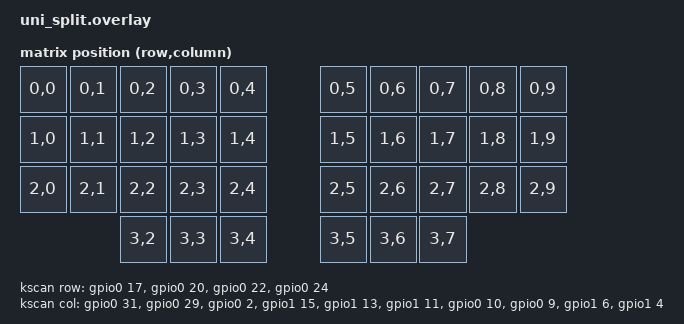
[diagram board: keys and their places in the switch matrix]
// uni-split: 5x3+3 split keyboard driven by a single Pro Micro nRF52840.
// Both halves are wired into one 10 column x 4 row matrix.

#include <dt-bindings/zmk/matrix_transform.h>

#include "uni_split-layouts.dtsi"

/ {
    chosen {
        zmk,physical-layout = &default_layout;
        zephyr,display = &oled;
    };

    kscan: kscan {
        compatible = "zmk,kscan-gpio-matrix";
        diode-direction = "col2row";
        wakeup-source;

        // Columns 1-10. Columns 1-5 are the left half, 6-10 the right half.
        col-gpios
            = <&gpio0 31 GPIO_ACTIVE_HIGH> // col 1  - P0.31
            , <&gpio0 29 GPIO_ACTIVE_HIGH> // col 2  - P0.29
            , <&gpio0 2 GPIO_ACTIVE_HIGH>  // col 3  - P0.02
            , <&gpio1 15 GPIO_ACTIVE_HIGH> // col 4  - P1.15
            , <&gpio1 13 GPIO_ACTIVE_HIGH> // col 5  - P1.13
            , <&gpio1 11 GPIO_ACTIVE_HIGH> // col 6  - P1.11
            , <&gpio0 10 GPIO_ACTIVE_HIGH> // col 7  - P0.10
            , <&gpio0 9 GPIO_ACTIVE_HIGH>  // col 8  - P0.09
            , <&gpio1 6 GPIO_ACTIVE_HIGH>  // col 9  - P1.06
            , <&gpio1 4 GPIO_ACTIVE_HIGH>  // col 10 - P1.04
            ;

        // Rows 1-4, top to bottom.
        row-gpios
            = <&gpio0 17 (GPIO_ACTIVE_HIGH | GPIO_PULL_DOWN)> // row 1 - P0.17
            , <&gpio0 20 (GPIO_ACTIVE_HIGH | GPIO_PULL_DOWN)> // row 2 - P0.20
            , <&gpio0 22 (GPIO_ACTIVE_HIGH | GPIO_PULL_DOWN)> // row 3 - P0.22
            , <&gpio0 24 (GPIO_ACTIVE_HIGH | GPIO_PULL_DOWN)> // row 4 - P0.24
            ;
    };

    default_transform: default_transform {
        // Matrix positions (pins are numbered row 1-4 and column 1-10):
        //   row 1: C1 C2 C3 C4 C5 | C6 C7 C8 C9 C10
        //   row 2: C1 C2 C3 C4 C5 | C6 C7 C8 C9 C10
        //   row 3: C1 C2 C3 C4 C5 | C6 C7 C8 C9 C10
        //   row 4:       C3 C4 C5 | C6 C7 C8
        compatible = "zmk,matrix-transform";
        columns = <10>;
        rows = <4>;

        map = <
            RC(0,0) RC(0,1) RC(0,2) RC(0,3) RC(0,4) RC(0,5) RC(0,6) RC(0,7) RC(0,8) RC(0,9)
            RC(1,0) RC(1,1) RC(1,2) RC(1,3) RC(1,4) RC(1,5) RC(1,6) RC(1,7) RC(1,8) RC(1,9)
            RC(2,0) RC(2,1) RC(2,2) RC(2,3) RC(2,4) RC(2,5) RC(2,6) RC(2,7) RC(2,8) RC(2,9)
            RC(3,2) RC(3,3) RC(3,4) RC(3,5) RC(3,6) RC(3,7)
        >;
    };
};

// The nice!nano default I2C0 pins (D2/D3, P0.17/P0.20) are matrix rows 1 and
// 2 on this keyboard, so move I2C0 to D0/D1 (P0.08/P0.06) for the OLED.
//
// SDA is wired to D0 (P0.08), SCL to D1 (P0.06).
&pinctrl {
    i2c0_oled_default: i2c0_oled_default {
        group1 {
            psels = <NRF_PSEL(TWIM_SDA, 0, 8)>,
                    <NRF_PSEL(TWIM_SCL, 0, 6)>;
            bias-pull-up;
        };
    };

    i2c0_oled_sleep: i2c0_oled_sleep {
        group1 {
            psels = <NRF_PSEL(TWIM_SDA, 0, 8)>,
                    <NRF_PSEL(TWIM_SCL, 0, 6)>;
            bias-pull-up;
            low-power-enable;
        };
    };
};

// Same shape ZMK's own OLED shields (Corne, Kyria, Waterfowl) ship with.
&pro_micro_i2c {
    status = "okay";
    pinctrl-0 = <&i2c0_oled_default>;
    pinctrl-1 = <&i2c0_oled_sleep>;
    pinctrl-names = "default", "sleep";

    // 128x64 SSD1306 OLED at the usual 0x3c address.
    // `segment-remap` + `com-invdir` rotate the image 180 degrees.
    oled: ssd1306@3c {
        compatible = "solomon,ssd1306fb";
        reg = <0x3c>;
        width = <128>;
        height = <64>;
        segment-offset = <0>;
        page-offset = <0>;
        display-offset = <0>;
        multiplex-ratio = <63>;
        segment-remap;
        com-invdir;
        inversion-on;
        prechargep = <0x22>;
    };
};
